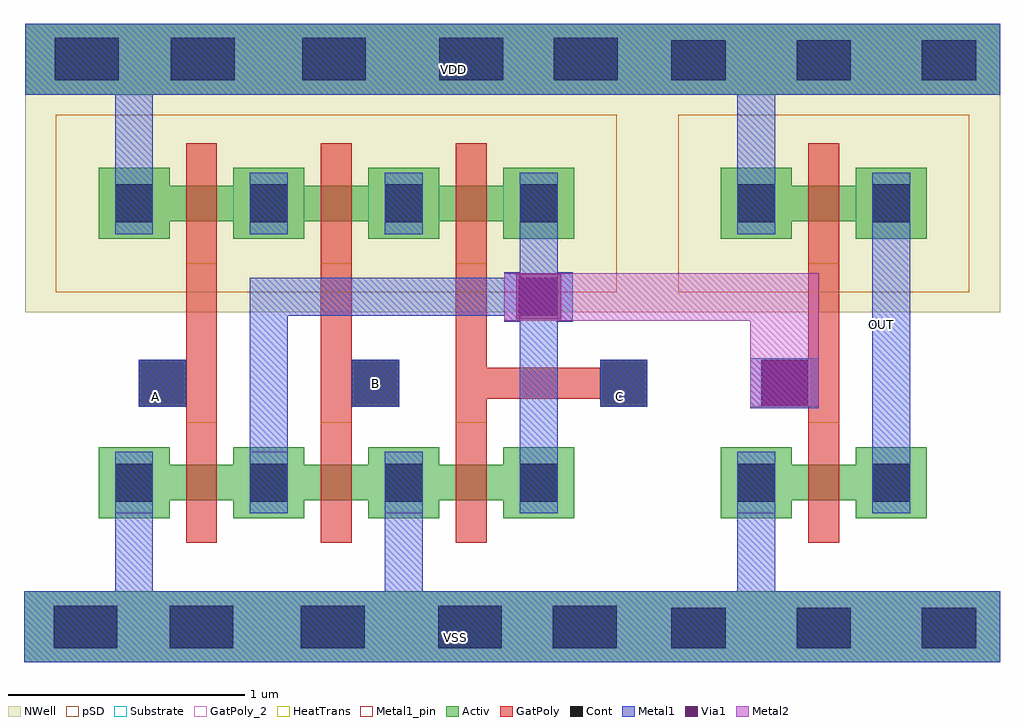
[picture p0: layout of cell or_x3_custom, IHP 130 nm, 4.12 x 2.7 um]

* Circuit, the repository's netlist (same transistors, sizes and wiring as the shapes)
* Extracted by KLayout with SG13G2 LVS runset on : 18/01/2026 22:32

.SUBCKT or_x3_custom VSS VDD A B C OUT
X$1 VDD VSS C B A \$3 nor_x3_custom
X$2 VDD \$3 VSS OUT inv
.ENDS or_x3_custom

.SUBCKT inv VDD VIN VSS VOUT
M$1 VSS VIN VOUT VSS sg13_lv_nmos L=0.13u W=0.15u AS=0.1005p AD=0.1005p
+ PS=1.34u PD=1.34u
M$2 VDD VIN VOUT VDD sg13_lv_pmos L=0.13u W=0.15u AS=0.1005p AD=0.1005p
+ PS=1.34u PD=1.34u
.ENDS inv

.SUBCKT nor_x3_custom VDD VSS C B A OUT
M$1 VSS A OUT VSS sg13_lv_nmos L=0.13u W=0.15u AS=0.1005p AD=0.0555p PS=1.34u
+ PD=0.74u
M$2 OUT B VSS VSS sg13_lv_nmos L=0.13u W=0.15u AS=0.0555p AD=0.0555p PS=0.74u
+ PD=0.74u
M$3 VSS C OUT VSS sg13_lv_nmos L=0.13u W=0.15u AS=0.0555p AD=0.1005p PS=0.74u
+ PD=1.34u
M$4 VDD A \$13 VDD sg13_lv_pmos L=0.13u W=0.15u AS=0.1005p AD=0.0555p PS=1.34u
+ PD=0.74u
M$5 \$13 B \$12 VDD sg13_lv_pmos L=0.13u W=0.15u AS=0.0555p AD=0.0555p PS=0.74u
+ PD=0.74u
M$6 \$12 C OUT VDD sg13_lv_pmos L=0.13u W=0.15u AS=0.0555p AD=0.1005p PS=0.74u
+ PD=1.34u
.ENDS nor_x3_custom

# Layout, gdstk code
from math import pi, radians
import gdstk
lib = gdstk.Library(unit=1e-6, precision=5e-09)
def R(c, l, rs):  # rectangles x0, y0, x1, y1
    for r in rs: c.add(gdstk.rectangle(r[:2], r[2:], *l))
def A(c, l, x, y, w, h, nx, ny, dx, dy):  # array of equal rectangles
    R(c, l, [(x+i*dx, y+j*dy, x+i*dx+w, y+j*dy+h) for i in range(nx) for j in range(ny)])
Activ = (1, 0)
GatPoly = (5, 0)
GatPoly_2 = (5, 2)
Cont = (6, 0)
Metal1 = (8, 0)
Metal1_pin = (8, 2)
Metal2 = (10, 0)
pSD = (14, 0)
Via1 = (19, 0)
NWell = (31, 0)
Substrate = (40, 0)
HeatTrans = (51, 0)

nmos = lib.new_cell('nmos')
R(nmos, Activ, [(0,0,0.3,0.3), (0.57,0,0.87,0.3), (0,0.075,0.87,0.225)])
R(nmos, GatPoly, [(0.37,-0.105,0.5,0.405)])
R(nmos, GatPoly_2, [(0.37,-0.105,0.5,0.405)])
R(nmos, Cont, [(0.07,0.07,0.23,0.23), (0.64,0.07,0.8,0.23)])
R(nmos, Metal1, [(0.07,0.02,0.23,0.28), (0.64,0.02,0.8,0.28)])
R(nmos, Metal1_pin, [(0.07,0.02,0.23,0.28), (0.64,0.02,0.8,0.28)])
R(nmos, HeatTrans, [(0.37,-0.105,0.5,0.405)])
nmos.add(gdstk.Label('nmos', (0.435,0.15), layer=63, texttype=0))
nmos.add(gdstk.Label('nmos', (0.435,0.15), layer=51, texttype=0))

pmos = lib.new_cell('pmos')
R(pmos, Activ, [(0,0,0.3,0.3), (0.57,0,0.87,0.3), (0,0.075,0.87,0.225)])
R(pmos, GatPoly, [(0.37,-0.105,0.5,0.405), (0.37,-0.105,0.5,0.405)])
R(pmos, Cont, [(0.07,0.07,0.23,0.23), (0.64,0.07,0.8,0.23)])
R(pmos, Metal1, [(0.07,0.02,0.23,0.28), (0.07,0.02,0.23,0.28), (0.64,0.02,0.8,0.28), (0.64,0.02,0.8,0.28)])
R(pmos, pSD, [(-0.18,-0.225,1.05,0.525)])
R(pmos, NWell, [(-0.31,-0.31,1.18,0.61)])
R(pmos, Substrate, [(0.57,0,0.87,0.3)])
R(pmos, HeatTrans, [(0.37,-0.105,0.5,0.405)])
pmos.add(gdstk.Label('pmos', (0.435,0.15), layer=63, texttype=0))
pmos.add(gdstk.Label('pmos', (0.435,0.15), layer=51, texttype=0))

nor_x3_custom = lib.new_cell('nor_x3_custom')
R(nor_x3_custom, Activ, [(0.985,0.865,3.61,1.165), (0.99,3.265,3.62,3.565)])
A(nor_x3_custom, GatPoly, 1.67, 1.37, 0.13, 1.69, 3, 1, 0.57, 0)
R(nor_x3_custom, GatPoly, [(2.81,1.98,3.42,2.11)])
R(nor_x3_custom, Cont, [(1.11,0.925,1.38,1.105), (1.6,0.925,1.87,1.105), (2.155,0.925,2.425,1.105), (2.735,0.925,3.005,1.105), (3.22,0.925,3.49,1.105), (1.47,1.945,1.67,2.145), (2.37,1.945,2.57,2.145), (3.42,1.945,3.62,2.145), (3.075,2.33,3.24,2.49), (1.115,3.325,1.385,3.505), (1.605,3.325,1.875,3.505), (2.16,3.325,2.43,3.505), (2.74,3.325,3.01,3.505), (3.225,3.325,3.495,3.505)])
R(nor_x3_custom, Metal1, [(0.985,0.865,3.61,1.165), (1.37,0.865,1.53,1.755), (2.51,0.865,2.67,1.755), (1.94,1.495,2.1,2.49), (3.08,1.495,3.24,2.935), (1.47,1.945,1.67,2.145), (2.37,1.945,2.57,2.145), (3.42,1.945,3.62,2.145), (1.94,2.33,3.24,2.49), (1.37,2.675,1.53,3.565), (0.99,3.265,3.62,3.565)])
R(nor_x3_custom, Metal1_pin, [(0.985,0.865,3.61,1.165), (3.08,1.495,3.24,2.935), (1.47,1.945,1.67,2.145), (2.37,1.945,2.57,2.145), (3.42,1.945,3.62,2.145), (0.99,3.265,3.62,3.565)])
R(nor_x3_custom, pSD, [(0.985,0.865,3.61,1.165)])
R(nor_x3_custom, NWell, [(0.99,3.265,3.62,3.565)])
nor_x3_custom.add(gdstk.Reference(nmos, (1.3,1.475)))
nor_x3_custom.add(gdstk.Reference(pmos, (1.3,2.655)))
nor_x3_custom.add(gdstk.Reference(pmos, (1.87,2.655)))
nor_x3_custom.add(gdstk.Reference(pmos, (2.44,2.655)))
nor_x3_custom.add(gdstk.Reference(nmos, (2.44,1.475)))
nor_x3_custom.add(gdstk.Reference(nmos, (2.74,1.775), rotation=pi))
nor_x3_custom.add(gdstk.Label('VSS', (2.235,0.985), layer=8, texttype=25))
nor_x3_custom.add(gdstk.Label('OUT', (3.095,2.355), layer=8, texttype=25))
nor_x3_custom.add(gdstk.Label('B', (2.465,2.01), layer=8, texttype=25))
nor_x3_custom.add(gdstk.Label('C', (3.515,2.01), layer=8, texttype=25))
nor_x3_custom.add(gdstk.Label('A', (1.55,2.015), layer=8, texttype=25))
nor_x3_custom.add(gdstk.Label('VDD', (2.225,3.37), layer=8, texttype=25))

pmos_1 = lib.new_cell('pmos$1')
R(pmos_1, Activ, [(0,0,0.3,0.3), (0.57,0,0.87,0.3), (0,0.075,0.87,0.225)])
R(pmos_1, GatPoly, [(0.37,-0.105,0.5,0.405), (0.37,-0.105,0.5,0.405)])
R(pmos_1, Cont, [(0.07,0.07,0.23,0.23), (0.64,0.07,0.8,0.23)])
R(pmos_1, Metal1, [(0.07,0.02,0.23,0.28), (0.07,0.02,0.23,0.28), (0.64,0.02,0.8,0.28), (0.64,0.02,0.8,0.28)])
R(pmos_1, pSD, [(-0.18,-0.225,1.05,0.525)])
R(pmos_1, NWell, [(-0.31,-0.31,1.18,0.61)])
R(pmos_1, Substrate, [(0.57,0,0.87,0.3)])
R(pmos_1, HeatTrans, [(0.37,-0.105,0.5,0.405)])
pmos_1.add(gdstk.Label('pmos', (0.435,0.15), layer=63, texttype=0))
pmos_1.add(gdstk.Label('pmos', (0.435,0.15), layer=51, texttype=0))

nmos_1 = lib.new_cell('nmos$1')
R(nmos_1, Activ, [(0,0,0.3,0.3), (0.57,0,0.87,0.3), (0,0.075,0.87,0.225)])
R(nmos_1, GatPoly, [(0.37,-0.105,0.5,0.405)])
R(nmos_1, GatPoly_2, [(0.37,-0.105,0.5,0.405)])
R(nmos_1, Cont, [(0.07,0.07,0.23,0.23), (0.64,0.07,0.8,0.23)])
R(nmos_1, Metal1, [(0.07,0.02,0.23,0.28), (0.64,0.02,0.8,0.28)])
R(nmos_1, Metal1_pin, [(0.07,0.02,0.23,0.28), (0.64,0.02,0.8,0.28)])
R(nmos_1, HeatTrans, [(0.37,-0.105,0.5,0.405)])
nmos_1.add(gdstk.Label('nmos', (0.435,0.15), layer=63, texttype=0))
nmos_1.add(gdstk.Label('nmos', (0.435,0.15), layer=51, texttype=0))

inv = lib.new_cell('inv')
R(inv, Activ, [(0.24,0.255,1.73,0.555), (0.24,2.655,1.73,2.955)])
R(inv, GatPoly, [(0.92,0.76,1.05,2.45), (0.72,1.335,0.92,1.535)])
A(inv, Cont, 0.34, 0.315, 0.23, 0.17, 3, 2, 0.53, 2.4)
R(inv, Cont, [(0.72,1.335,0.92,1.535)])
R(inv, Metal1, [(0.24,0.255,1.73,0.555), (0.62,0.255,0.78,1.145), (1.19,0.885,1.35,2.325), (0.72,1.335,0.92,1.535), (0.62,2.065,0.78,2.955), (0.24,2.655,1.73,2.955)])
R(inv, Metal1_pin, [(0.24,0.255,1.73,0.555), (1.19,0.885,1.35,2.325), (0.72,1.335,0.92,1.535), (0.24,2.655,1.73,2.955)])
R(inv, pSD, [(0.24,0.255,1.73,0.555)])
R(inv, NWell, [(0.24,2.655,1.73,2.955)])
inv.add(gdstk.Reference(pmos_1, (0.55,2.045)))
inv.add(gdstk.Reference(nmos_1, (0.55,0.865)))
inv.add(gdstk.Label('VIN', (0.78,1.435), layer=8, texttype=25))
inv.add(gdstk.Label('VSS', (0.95,0.37), layer=8, texttype=25))
inv.add(gdstk.Label('VOUT', (1.2,1.665), layer=8, texttype=25))
inv.add(gdstk.Label('VDD', (0.96,2.805), layer=8, texttype=25))

via_stack_1 = lib.new_cell('via_stack$1')
R(via_stack_1, Metal1, [(-0.145,-0.105,0.145,0.105)])
R(via_stack_1, Metal2, [(-0.145,-0.1,0.145,0.1)])
R(via_stack_1, Via1, [(-0.095,-0.095,0.095,0.095)])

or_x3_custom = lib.new_cell('or_x3_custom')
R(or_x3_custom, Activ, [(0.985,0.865,5.11,1.165)])
R(or_x3_custom, Metal1, [(0.985,0.865,5.11,1.165)])
R(or_x3_custom, Metal1_pin, [(0.985,0.865,5.11,1.165)])
R(or_x3_custom, Metal2, [(4.055,1.945,4.345,2.51), (3.015,2.31,4.345,2.51)])
R(or_x3_custom, pSD, [(0.985,0.865,5.11,1.165)])
or_x3_custom.add(gdstk.Reference(nor_x3_custom, (0,0)))
or_x3_custom.add(gdstk.Reference(inv, (3.38,0.61)))
or_x3_custom.add(gdstk.Reference(via_stack_1, (4.2,2.045)))
or_x3_custom.add(gdstk.Reference(via_stack_1, (3.16,2.41)))
or_x3_custom.add(gdstk.Label('VDD', (2.8,3.37), layer=8, texttype=25))
or_x3_custom.add(gdstk.Label('VSS', (2.81,0.97), layer=8, texttype=25))
or_x3_custom.add(gdstk.Label('A', (1.54,1.99), layer=8, texttype=25))
or_x3_custom.add(gdstk.Label('B', (2.47,2.045), layer=8, texttype=25))
or_x3_custom.add(gdstk.Label('C', (3.5,1.99), layer=8, texttype=25))
or_x3_custom.add(gdstk.Label('OUT', (4.61,2.295), layer=8, texttype=25))

lib.write_gds('or_x3_custom.gds')
